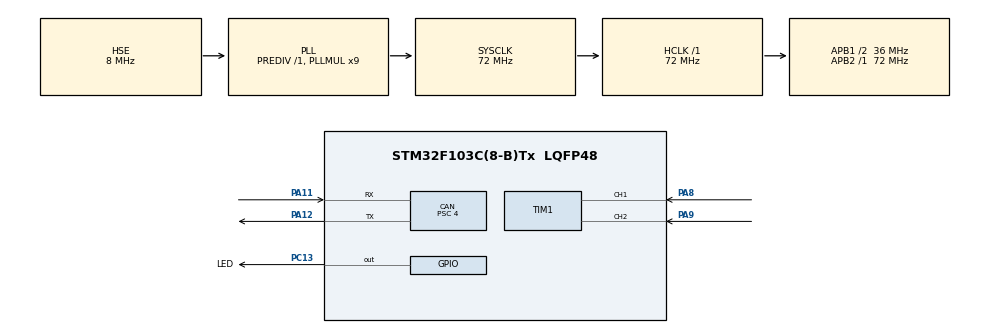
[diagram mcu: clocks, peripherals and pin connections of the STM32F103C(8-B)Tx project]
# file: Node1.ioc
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CAN.ABOM=ENABLE
CAN.BS1=CAN_BS1_12TQ
CAN.BS2=CAN_BS2_5TQ
CAN.CalculateBaudRate=500000
CAN.CalculateTimeBit=2000
CAN.CalculateTimeQuantum=111.11111111111111
CAN.NART=ENABLE
CAN.Prescaler=4
Mcu.Family=STM32F1
Mcu.Name=STM32F103C(8-B)Tx
Mcu.Package=LQFP48
NVIC.PriorityGroup=NVIC_PRIORITYGROUP_4
NVIC.TIM2_IRQn=true\:0\:0\:false\:false\:true\:true\:true\:true
PA11.Mode=CAN_Activate
PA11.Signal=CAN_RX
PA12.Mode=CAN_Activate
PA12.Signal=CAN_TX
PA13.Mode=Serial_Wire
PA13.Signal=SYS_JTMS-SWDIO
PA14.Mode=Serial_Wire
PA14.Signal=SYS_JTCK-SWCLK
PA8.Signal=S_TIM1_CH1
PA9.Signal=S_TIM1_CH2
PC13-TAMPER-RTC.GPIO_Label=LED
PC13-TAMPER-RTC.PinState=GPIO_PIN_SET
PC13-TAMPER-RTC.Signal=GPIO_Output
PD0-OSC_IN.Mode=HSE-External-Oscillator
PD0-OSC_IN.Signal=RCC_OSC_IN
PD1-OSC_OUT.Mode=HSE-External-Oscillator
PD1-OSC_OUT.Signal=RCC_OSC_OUT
ProjectManager.HeapSize=0x200
ProjectManager.StackSize=0x400
ProjectManager.TargetToolchain=STM32CubeIDE
RCC.AHBFreq_Value=72000000
RCC.APB1CLKDivider=RCC_HCLK_DIV2
RCC.APB1Freq_Value=36000000
RCC.APB1TimFreq_Value=72000000
RCC.APB2Freq_Value=72000000
RCC.APB2TimFreq_Value=72000000
RCC.HCLKFreq_Value=72000000
RCC.PLLMUL=RCC_PLL_MUL9
RCC.PLLSourceVirtual=RCC_PLLSOURCE_HSE
RCC.SYSCLKFreq_VALUE=72000000
RCC.SYSCLKSource=RCC_SYSCLKSOURCE_PLLCLK
RCC.USBFreq_Value=72000000
SH.S_TIM1_CH1.0=TIM1_CH1,Encoder_Interface
SH.S_TIM1_CH2.0=TIM1_CH2,Encoder_Interface
TIM1.AutoReloadPreload=TIM_AUTORELOAD_PRELOAD_ENABLE
TIM1.EncoderMode=TIM_ENCODERMODE_TI12
TIM2.Period=99
TIM2.Prescaler=7199
VP_TIM2_VS_ClockSourceINT.Mode=Internal
board=custom

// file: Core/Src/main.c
/* USER CODE BEGIN Header */
/**
  ******************************************************************************
  * @file           : main.c
  * @brief          : Main program body -- Node 1 Powertrain / Odometer
  ******************************************************************************
  * Copyright (c) 2026 STMicroelectronics. All rights reserved.
  * Licensed AS-IS; see LICENSE file in root directory.
  ******************************************************************************
  */
/* USER CODE END Header */
#include "main.h"
#include "can.h"
#include "tim.h"
#include "gpio.h"

/* USER CODE BEGIN Includes */
#include <stdlib.h>  /* abs() -- used in encoder diff calculation                */
/* USER CODE END Includes */

/* USER CODE BEGIN PV */

/*
 * trip_distance_km -- accumulated trip odometer in kilometres.
 *
 * Integrated at 100 Hz (every TIM2 interrupt = 10 ms) using:
 *   trip += speed_kmh * (0.01 / 3600.0)        [dt = 10 ms = 0.01 s]
 *
 * Transmitted on CAN 0x106 at 10 Hz encoded as:
 *   uint16_t encoded = (uint16_t)(trip_distance_km * 10.0);
 *   -> 1 LSB = 0.1 km, range 0-6553.5 km before uint16 wrap-around.
 *
 * FIX: 'volatile' removed -- written and read exclusively from the main loop
 * after moving integration out of the ISR. Same execution context; no race.
 */
double trip_distance_km = 0.0;

/* USER CODE END PV */

void SystemClock_Config(void);

/* USER CODE BEGIN 0 */

/*
 * Encoder_Data_t -- all encoder state packed in one struct.
 *
 * target_rpm   : RPM setpoint derived from raw encoder count delta.
 * current_rpm  : displayed/transmitted RPM after slew-rate limiting.
 *                Ramps toward target_rpm by +/-50 RPM per 10 ms tick.
 * send_rpm     : current_rpm cast to uint16 -- the CAN frame value.
 * send_speed_kmh: derived from send_rpm using the fixed ratio RPM/33.
 *                 Clamp: 300 km/h max (matches dashboard gauge upper bound).
 * data_ready   : flag set by TIM2 ISR, cleared by main loop.
 *                1-slot producer/consumer queue; no interrupt nesting.
 * last_counter : TIM1 counter value at the last processed tick.
 *                Signed 16-bit subtraction handles counter wrap-around.
 */
typedef struct {
    int32_t  target_rpm;
    int32_t  current_rpm;
    uint16_t send_rpm;
    uint16_t send_speed_kmh;
    volatile uint8_t data_ready;
    uint16_t last_counter;
} Encoder_Data_t;

Encoder_Data_t hEncoder = {0};

/*
 * Encoder_Init -- start TIM1 in encoder mode.
 * HAL_TIM_Encoder_Start() puts TIM1 into hardware quadrature decode mode.
 */
void Encoder_Init(void) {
    HAL_TIM_Encoder_Start(&htim1, TIM_CHANNEL_ALL);
    hEncoder.last_counter = __HAL_TIM_GET_COUNTER(&htim1);
}

/* RPM_PER_ENCODER_COUNT -- one CW detent adds this many RPM.
 * With 100 counts max (0-10000 RPM), 100 detents cover full scale.
 * Increase to 200 for coarser steps; decrease to 50 for finer. */
#define RPM_PER_ENCODER_COUNT  100

/*
 * Encoder_Update_Calculations -- called from main loop when data_ready == 1.
 *
 * STEP 1 -- Count delta (position change since last tick).
 * STEP 2 -- Position-based RPM target (s_encoder_pos accumulates CW/CCW).
 *           RPM holds its value when rotation stops (no decay to zero).
 * STEP 3 -- Slew-rate limiter: +/-50 RPM per tick (+/-500 RPM/s).
 * STEP 4 -- Derive speed: send_speed_kmh = send_rpm / 33.
 */
void Encoder_Update_Calculations(void) {
    /* STEP 1 */
    uint16_t current_counter = (uint16_t)__HAL_TIM_GET_COUNTER(&htim1);
    int16_t diff = (int16_t)(current_counter - hEncoder.last_counter);

    if (diff != 0) {
        /* STEP 2 -- position-based: accumulate and clamp */
        static int32_t s_encoder_pos = 0;
        s_encoder_pos += diff;
        if (s_encoder_pos < 0)
            s_encoder_pos = 0;
        if (s_encoder_pos > (10000 / RPM_PER_ENCODER_COUNT))
            s_encoder_pos = (10000 / RPM_PER_ENCODER_COUNT);
        hEncoder.target_rpm   = s_encoder_pos * RPM_PER_ENCODER_COUNT;
        hEncoder.last_counter = current_counter;
    }

    /* STEP 3 -- slew-rate limiter: +/-50 RPM per 10 ms tick */
    int32_t step = 50;
    if (hEncoder.current_rpm < hEncoder.target_rpm) {
        hEncoder.current_rpm += step;
        if (hEncoder.current_rpm > hEncoder.target_rpm)
            hEncoder.current_rpm = hEncoder.target_rpm;
    } else if (hEncoder.current_rpm > hEncoder.target_rpm) {
        hEncoder.current_rpm -= step;
        if (hEncoder.current_rpm < hEncoder.target_rpm)
            hEncoder.current_rpm = hEncoder.target_rpm;
    }

    /* STEP 4 */
    hEncoder.send_rpm       = (uint16_t)hEncoder.current_rpm;
    hEncoder.send_speed_kmh = (uint16_t)(hEncoder.send_rpm / 33);
    if (hEncoder.send_speed_kmh > 300) hEncoder.send_speed_kmh = 300;
}
/* USER CODE END 0 */

int main(void)
{

  /* MCU Configuration--------------------------------------------------------*/

  /* Reset of all peripherals, Initializes the Flash interface and the Systick. */
  HAL_Init();

  /* Configure the system clock */
  SystemClock_Config();

  /* Initialize all configured peripherals */
  MX_GPIO_Init();
  MX_CAN_Init();
  MX_TIM1_Init();
  MX_TIM2_Init();
  /* USER CODE BEGIN 2 */

  /* CAN Filter -- Accept-All (32-bit mask mode, mask=0x0000 -> all IDs pass).
   * Without an active filter the STM32 CAN peripheral will not acknowledge any
   * frame on the bus, causing Bus-Off on the first dominant-bit error.
   * ABOM is enabled in CubeMX, so no manual Stop/Start recovery is needed. */
  CAN_FilterTypeDef sFilterConfig;
  sFilterConfig.FilterBank           = 0;
  sFilterConfig.FilterMode           = CAN_FILTERMODE_IDMASK;
  sFilterConfig.FilterScale          = CAN_FILTERSCALE_32BIT;
  sFilterConfig.FilterIdHigh         = 0x0000;
  sFilterConfig.FilterIdLow          = 0x0000;
  sFilterConfig.FilterMaskIdHigh     = 0x0000;   /* mask=0 -> all ID bits are don't-care */
  sFilterConfig.FilterMaskIdLow      = 0x0000;
  sFilterConfig.FilterFIFOAssignment = CAN_RX_FIFO0;
  sFilterConfig.FilterActivation     = ENABLE;
  sFilterConfig.SlaveStartFilterBank = 14;       /* STM32F103 single-CAN: irrelevant but required */
  if (HAL_CAN_ConfigFilter(&hcan, &sFilterConfig) != HAL_OK)
  {
    Error_Handler();
  }

  if (HAL_CAN_Start(&hcan) != HAL_OK)
  {
    /* 5 Hz fast blink on PC13: CAN_Start failed.
     * PC13 is active-LOW: reset=on, set=off. */
    while (1)
    {
      HAL_GPIO_TogglePin(GPIOC, GPIO_PIN_13);
      HAL_Delay(100);   /* 100 ms -> 5 Hz */
    }
  }

  Encoder_Init();

  /* Start TIM2 -- triggers HAL_TIM_PeriodElapsedCallback() every 10 ms */
  HAL_TIM_Base_Start_IT(&htim2);

  CAN_TxHeaderTypeDef TxHeader;
  uint32_t TxMailbox;
  TxHeader.IDE                = CAN_ID_STD;
  TxHeader.RTR                = CAN_RTR_DATA;
  TxHeader.DLC                = 2;   /* speed and RPM frames carry exactly 2 bytes */
  TxHeader.TransmitGlobalTime = DISABLE;  /* must be explicit — uninitialized stack
                                           * garbage could equal ENABLE (1) and set
                                           * the TGT bit, corrupting TX data bytes  */

  uint32_t last_led_tick = 0;

  /* USER CODE END 2 */

  /* Infinite loop */
  /* USER CODE BEGIN WHILE */
  while (1)
  {
    /* Non-blocking 1 Hz LED heartbeat -- PC13 active-LOW */
    uint32_t now_led = HAL_GetTick();
    if ((now_led - last_led_tick) >= 500)   /* toggle every 500 ms = 1 Hz blink */
    {
      last_led_tick = now_led;
      HAL_GPIO_TogglePin(GPIOC, GPIO_PIN_13);
    }

    if (hEncoder.data_ready == 1)
    {
      hEncoder.data_ready = 0;

      Encoder_Update_Calculations();

      /* Trip integration in main loop (NOT ISR).
       * Soft-float on no-FPU STM32F103 takes ~150 cycles -- too slow for ISR. */
      trip_distance_km += (double)hEncoder.send_speed_kmh * (0.01 / 3600.0);

      /* TX: 0x100 -- Speed (km/h)
       * Encoding: big-endian uint16
       *   byte[0] = high byte (MSB), byte[1] = low byte (LSB) */
      if (HAL_CAN_GetTxMailboxesFreeLevel(&hcan) > 0)
      {
          TxHeader.StdId = 0x100;
          uint8_t TxData_SPD[8] = {0};
          TxData_SPD[0] = (uint8_t)(hEncoder.send_speed_kmh >> 8);
          TxData_SPD[1] = (uint8_t)(hEncoder.send_speed_kmh & 0xFF);
          HAL_CAN_AddTxMessage(&hcan, &TxHeader, TxData_SPD, &TxMailbox);
      }

      /* TX: 0x101 -- RPM (same big-endian uint16 encoding) */
      if (HAL_CAN_GetTxMailboxesFreeLevel(&hcan) > 0)
      {
          TxHeader.StdId = 0x101;
          uint8_t TxData_RPM[8] = {0};
          TxData_RPM[0] = (uint8_t)(hEncoder.send_rpm >> 8);
          TxData_RPM[1] = (uint8_t)(hEncoder.send_rpm & 0xFF);
          HAL_CAN_AddTxMessage(&hcan, &TxHeader, TxData_RPM, &TxMailbox);
      }

      /* TX: 0x106 -- Trip Distance @ 10 Hz (every 10th tick)
       * Encoding: big-endian uint16 where 1 LSB = 0.1 km */
      static uint8_t dist_tx_counter = 0;
      if (++dist_tx_counter >= 10)
      {
          dist_tx_counter = 0;
          if (HAL_CAN_GetTxMailboxesFreeLevel(&hcan) > 0)
          {
              uint16_t dist_encoded = (uint16_t)(trip_distance_km * 10.0);
              uint8_t TxData_DIST[2] = {0};
              TxData_DIST[0] = (uint8_t)(dist_encoded >> 8);
              TxData_DIST[1] = (uint8_t)(dist_encoded & 0xFF);
              TxHeader.StdId = 0x106;
              TxHeader.DLC   = 2;
              HAL_CAN_AddTxMessage(&hcan, &TxHeader, TxData_DIST, &TxMailbox);
              /* TxHeader.DLC stays 2 -- speed/RPM frames use the same 2-byte DLC */
          }
      }
    }

    /* TX: 0x1F1 -- Node 1 Heartbeat @ 500 ms
     * byte[0] = 0x01 if TIM1 encoder counter changed since last heartbeat tick (encoder moving)
     *           0xFF if counter frozen (encoder stationary or disconnected) */
    {
      static uint32_t last_hb1_tick = 0;
      uint32_t now_hb1 = HAL_GetTick();
      if ((now_hb1 - last_hb1_tick) >= 500)
      {
        last_hb1_tick = now_hb1;
        /* Node 1 alive = encoder ok. A dead/disconnected STM32 produces no
         * 0x1F1 frame at all; the Pi-side watchdog fires after 3 s and sets
         * node1Heartbeat=false. Encoder stationary (RPM=0) is NOT an error. */
        uint8_t enc_health = 0x01;
        if (HAL_CAN_GetTxMailboxesFreeLevel(&hcan) > 0)
        {
          uint8_t HB1[8] = {enc_health, 0x00, 0x00, 0x00, 0x00, 0x00, 0x00, 0x00};
          TxHeader.StdId = 0x1F1;
          TxHeader.DLC   = 8;
          HAL_CAN_AddTxMessage(&hcan, &TxHeader, HB1, &TxMailbox);
          TxHeader.DLC   = 2;
        }
      }
    }

    /* USER CODE END WHILE */

  }
}

void SystemClock_Config(void)
{
  RCC_OscInitTypeDef RCC_OscInitStruct = {0};
  RCC_ClkInitTypeDef RCC_ClkInitStruct = {0};

  /** Initializes the RCC Oscillators according to the specified parameters
  * in the RCC_OscInitTypeDef structure.
  */
  RCC_OscInitStruct.OscillatorType = RCC_OSCILLATORTYPE_HSE;
  RCC_OscInitStruct.HSEState = RCC_HSE_ON;
  RCC_OscInitStruct.HSEPredivValue = RCC_HSE_PREDIV_DIV1;
  RCC_OscInitStruct.HSIState = RCC_HSI_ON;
  RCC_OscInitStruct.PLL.PLLState = RCC_PLL_ON;
  RCC_OscInitStruct.PLL.PLLSource = RCC_PLLSOURCE_HSE;
  RCC_OscInitStruct.PLL.PLLMUL = RCC_PLL_MUL9;
  if (HAL_RCC_OscConfig(&RCC_OscInitStruct) != HAL_OK)
  {
    Error_Handler();
  }

  /** Initializes the CPU, AHB and APB buses clocks
  */
  RCC_ClkInitStruct.ClockType = RCC_CLOCKTYPE_HCLK|RCC_CLOCKTYPE_SYSCLK
                              |RCC_CLOCKTYPE_PCLK1|RCC_CLOCKTYPE_PCLK2;
  RCC_ClkInitStruct.SYSCLKSource = RCC_SYSCLKSOURCE_PLLCLK;
  RCC_ClkInitStruct.AHBCLKDivider = RCC_SYSCLK_DIV1;
  RCC_ClkInitStruct.APB1CLKDivider = RCC_HCLK_DIV2;
  RCC_ClkInitStruct.APB2CLKDivider = RCC_HCLK_DIV1;

  if (HAL_RCC_ClockConfig(&RCC_ClkInitStruct, FLASH_LATENCY_2) != HAL_OK)
  {
    Error_Handler();
  }
}

/* USER CODE BEGIN 4 */
/*
 * HAL_TIM_PeriodElapsedCallback -- TIM2 interrupt, 10 ms period.
 * Sets data_ready -- main loop reads encoder and integrates trip next pass.
 * Trip integration removed from ISR: soft-float on no-FPU STM32F103 blocks
 * lower-priority IRQs at 100 Hz. Integration now in while(1).
 */
void HAL_TIM_PeriodElapsedCallback(TIM_HandleTypeDef *htim)
{
  if (htim->Instance == TIM2)
  {
      hEncoder.data_ready = 1;   /* only flag set -- no float math in ISR */
  }
}
/* USER CODE END 4 */

void Error_Handler(void)
{
  __disable_irq();
  while (1)
  {
  }
}
